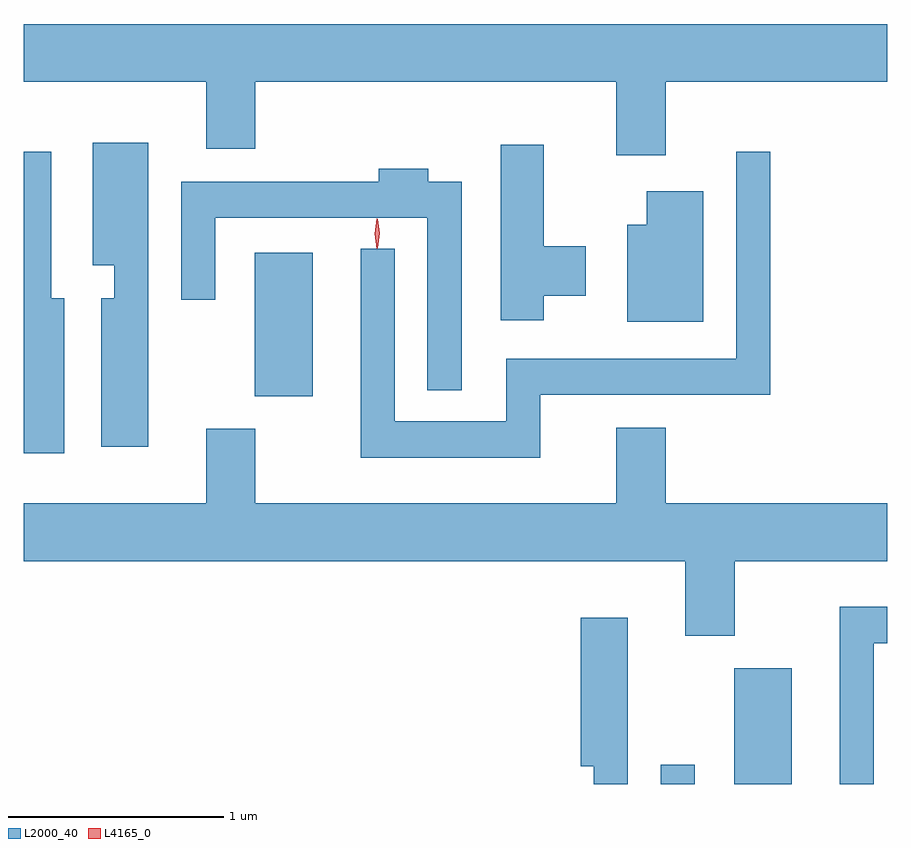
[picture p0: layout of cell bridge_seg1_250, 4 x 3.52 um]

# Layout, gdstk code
import gdstk
lib = gdstk.Library(unit=1e-6, precision=1e-09)
def R(c, l, rs):  # rectangles x0, y0, x1, y1
    for r in rs: c.add(gdstk.rectangle(r[:2], r[2:], *l))
def P(c, l, *ps):  # polygons
    for p in ps: c.add(gdstk.Polygon(p, *l))
L2000_40 = (2000, 40)
L4165_0 = (4165, 0)

bridge_seg1_250 = lib.new_cell('bridge_seg1_250')
R(bridge_seg1_250, L2000_40, [(960.846,896.324,961.004,896.413), (961.186,896.324,961.454,896.859), (958.966,898.121,959.234,898.784)])
P(bridge_seg1_250, L2000_40, [(960.869,899.576),(961.896,899.576),(961.896,899.844),(957.896,899.844),(957.896,899.576),(958.741,899.576),(958.741,899.266),(958.969,899.266),(958.969,899.576),(960.641,899.576),(960.641,899.236),(960.869,899.236)],
  [(958.474,899.294),(958.216,899.294),(958.216,898.726),(958.316,898.726),(958.316,898.574),(958.256,898.574),(958.256,897.886),(958.474,897.886)],
  [(960.304,898.586),(960.499,898.586),(960.499,898.814),(960.304,898.814),(960.304,899.284),(960.106,899.284),(960.106,898.471),(960.304,898.471)],
  [(958.084,898.574),(958.024,898.574),(958.024,899.253),(957.896,899.253),(957.896,897.856),(958.084,897.856)],
  [(960.289,898.126),(961.354,898.126),(961.354,899.253),(961.196,899.253),(961.196,898.294),(960.131,898.294),(960.131,898.004),(959.614,898.004),(959.614,898.803),(959.456,898.803),(959.456,897.836),(960.289,897.836)],
  [(959.924,899.114),(959.769,899.114),(959.769,899.174),(959.541,899.174),(959.541,899.114),(958.626,899.114),(958.626,898.568),(958.784,898.568),(958.784,898.946),(959.766,898.946),(959.766,898.148),(959.924,898.148)],
  [(961.044,899.069),(960.781,899.069),(960.781,898.914),(960.691,898.914),(960.691,898.466),(961.044,898.466)],
  [(961.189,897.356),(961.896,897.356),(961.896,897.624),(960.869,897.624),(960.869,897.974),(960.641,897.974),(960.641,897.624),(958.969,897.624),(958.969,897.969),(958.741,897.969),(958.741,897.624),(957.896,897.624),(957.896,897.356),(960.961,897.356),(960.961,897.011),(961.189,897.011)],
  [(961.834,896.976),(961.896,896.976),(961.896,897.144),(961.676,897.144),(961.676,896.324),(961.834,896.324)],
  [(960.694,897.094),(960.476,897.094),(960.476,896.406),(960.536,896.406),(960.536,896.324),(960.694,896.324)])
P(bridge_seg1_250, L4165_0, [(959.532,898.803),(959.532,898.804),(959.522,898.873),(959.532,898.942),(959.532,898.943),(959.533,898.942),(959.542,898.873),(959.533,898.804)],
  [(959.534,898.807),(959.525,898.874),(959.534,898.94),(959.534,898.94),(959.535,898.94),(959.544,898.874),(959.535,898.807),(959.535,898.807)])

lib.write_gds('bridge_seg1_250.gds')
